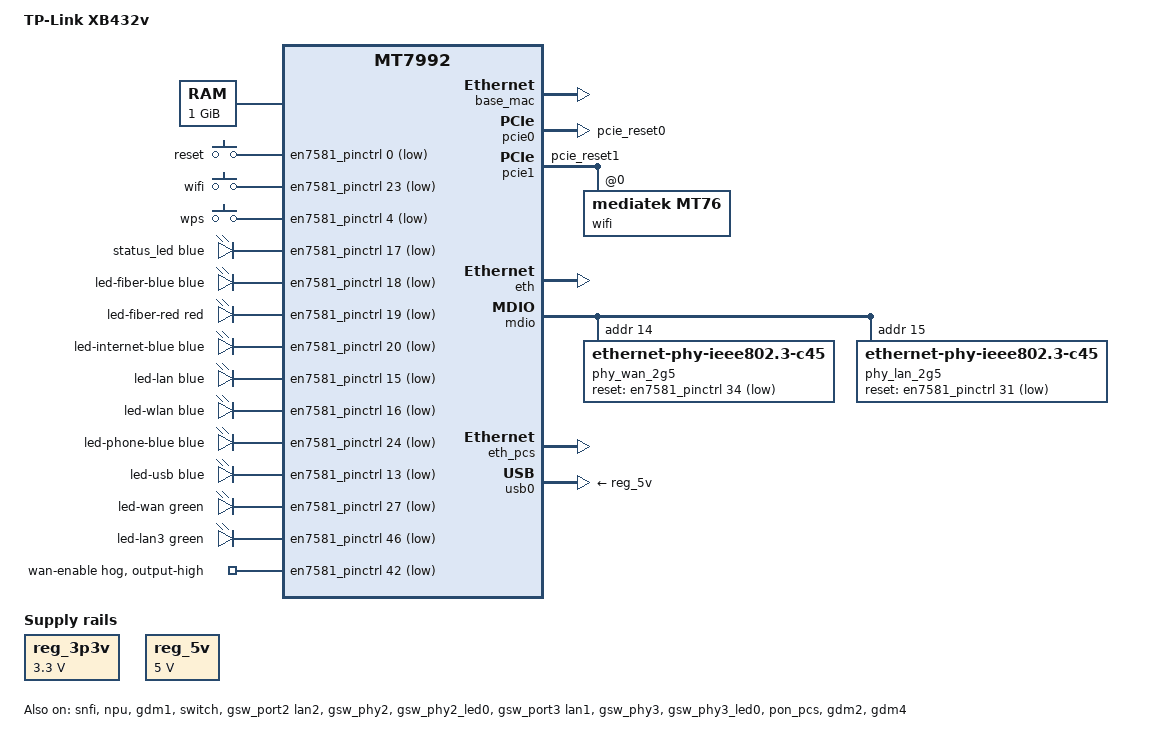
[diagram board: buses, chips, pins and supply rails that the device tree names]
// SPDX-License-Identifier: GPL-2.0-or-later OR MIT

/dts-v1/;
#include <dt-bindings/gpio/gpio.h>
#include <dt-bindings/input/input.h>
#include <dt-bindings/leds/common.h>

#include "an7581.dtsi"
#include "an7581-npu-mt7992.dtsi"

/ {
	model = "TP-Link XB432v";
	compatible = "tplink,xb432v", "airoha,an7581", "airoha,en7581";

	aliases {
        label-mac-device = &gdm1;

        led-boot = &status_led;
        led-failsafe = &status_led;
        led-running = &status_led;
        led-upgrade = &status_led;

		serial0 = &uart1;
	};

	chosen {
		bootargs-append = "console=ttyS0,115200 earlycon root=/dev/ubiblock0_0";
		stdout-path = "serial0:115200n8";
		linux,usable-memory-range = <0x0 0x80200000 0x0 0x3fe00000>;
	};

	memory@80000000 {
		device_type = "memory";
		reg = <0x0 0x80000000 0x0 0x40000000>;
	};

	gpio-keys {
		compatible = "gpio-keys";

		key-reset {
			label = "reset";
			linux,code = <KEY_RESTART>;
			gpios = <&en7581_pinctrl 0 GPIO_ACTIVE_LOW>;
		};

		key-wifi {
			label = "wifi";
			linux,code = <KEY_WLAN>;
			gpios = <&en7581_pinctrl 23 GPIO_ACTIVE_LOW>;
		};

		key-wps {
			label = "wps";
			linux,code = <KEY_WPS_BUTTON>;
			gpios = <&en7581_pinctrl 4 GPIO_ACTIVE_LOW>;
		};
	};

	leds {
		compatible = "gpio-leds";

		status_led: led-power {
			color = <LED_COLOR_ID_BLUE>;
			function = LED_FUNCTION_POWER;
			gpios = <&en7581_pinctrl 17 GPIO_ACTIVE_LOW>;
			default-state = "on";
		};

		led-fiber-blue {
			color = <LED_COLOR_ID_BLUE>;
			function = "fiber";
			gpios = <&en7581_pinctrl 18 GPIO_ACTIVE_LOW>;
		};

		led-fiber-red {
			color = <LED_COLOR_ID_RED>;
			function = "fiber";
			gpios = <&en7581_pinctrl 19 GPIO_ACTIVE_LOW>;
		};

		led-internet-blue {
			color = <LED_COLOR_ID_BLUE>;
			function = "internet";
			gpios = <&en7581_pinctrl 20 GPIO_ACTIVE_LOW>;
		};

		led-lan {
			color = <LED_COLOR_ID_BLUE>;
			function = LED_FUNCTION_LAN;
			gpios = <&en7581_pinctrl 15 GPIO_ACTIVE_LOW>;
		};

		led-wlan {
			color = <LED_COLOR_ID_BLUE>;
			function = LED_FUNCTION_WLAN;
			gpios = <&en7581_pinctrl 16 GPIO_ACTIVE_LOW>;
		};

		led-phone-blue {
			color = <LED_COLOR_ID_BLUE>;
			function = "phone";
			gpios = <&en7581_pinctrl 24 GPIO_ACTIVE_LOW>;
		};

		led-usb {
			color = <LED_COLOR_ID_BLUE>;
			function = LED_FUNCTION_USB;
			gpios = <&en7581_pinctrl 13 GPIO_ACTIVE_LOW>;
		};

		led-wan {
			color = <LED_COLOR_ID_GREEN>;
			function = LED_FUNCTION_WAN;
			gpios = <&en7581_pinctrl 27 GPIO_ACTIVE_LOW>;
		};

		led-lan3 {
			color = <LED_COLOR_ID_GREEN>;
			function = LED_FUNCTION_LAN;
			function-enumerator = <3>;
			gpios = <&en7581_pinctrl 46 GPIO_ACTIVE_LOW>;
		};
	};

	reg_3p3v: regulator-3p3v {
		compatible = "regulator-fixed";
		regulator-name = "fixed-3.3V";
		regulator-min-microvolt = <3300000>;
		regulator-max-microvolt = <3300000>;
		regulator-boot-on;
		regulator-always-on;
	};

	reg_5v: regulator-5v {
		compatible = "regulator-fixed";
		regulator-name = "fixed-5V";
		regulator-min-microvolt = <5000000>;
		regulator-max-microvolt = <5000000>;
		regulator-boot-on;
		regulator-always-on;
	};
};

&en7581_pinctrl {
	gpio-ranges = <&en7581_pinctrl 0 13 50>;

	mdio_pins: mdio-pins {
		mux {
			function = "mdio";
			groups = "mdio";
		};

		conf {
			pins = "gpio2";
			output-high;
		};
	};

	pcie0_rst_pins: pcie0-rst-pins {
		conf {
			pins = "pcie_reset0";
			drive-open-drain = <1>;
		};
	};

	pcie1_rst_pins: pcie1-rst-pins {
		conf {
			pins = "pcie_reset1";
			drive-open-drain = <1>;
		};
	};

	gswp2_led0_pins: gswp2-led0-pins {
		mux {
			function = "phy2_led0";
			pins = "gpio44";
		};
	};

	gswp3_led0_pins: gswp3-led0-pins {
		mux {
			function = "phy3_led0";
			pins = "gpio45";
		};
	};

	wan-enable-hog {
		gpio-hog;
		gpios = <42 GPIO_ACTIVE_LOW>;
		output-high;
		line-name = "wan-enable";
	};
};

&snfi {
	status = "okay";
};

&spi_nand {
	partitions {
		compatible = "fixed-partitions";
		#address-cells = <1>;
		#size-cells = <1>;

		partition@0 {
			label = "boot";
			reg = <0x0 0xc0000>;
			read-only;
		};

		partition@c0000 {
			label = "art";
			reg = <0xc0000 0x380000>;
			read-only;

			nvmem-layout {
				compatible = "fixed-layout";
				#address-cells = <1>;
				#size-cells = <1>;

				wifi_eeprom: eeprom@40000 {
					reg = <0x40000 0x1e00>;
				};
			};
		};

		partition@440000 {
			label = "misc";
			reg = <0x440000 0x400000>;
			read-only;

			nvmem-layout {
				compatible = "fixed-layout";
				#address-cells = <1>;
				#size-cells = <1>;

				base_mac: macaddr@8f100 {
					compatible = "mac-base";
					reg = <0x8f100 0x6>;
					#nvmem-cell-cells = <1>;
				};
			};
		};

		partition@840000 {
			label = "kernel";
			reg = <0x840000 0xa00000>;
		};

		partition@1240000 {
			label = "ubi";
			reg = <0x1240000 0x3bc0000>;
		};

		partition@4e00000 {
			label = "kernel_slave";
			reg = <0x4e00000 0xa00000>;
			read-only;
		};

		partition@5800000 {
			label = "rootfs_slave";
			reg = <0x5800000 0x3bc0000>;
			read-only;
		};

		partition@9bc0000 {
			label = "boot_flag";
			reg = <0x9bc0000 0x40000>;
		};

		partition@1d740000 {
			label = "rawb_reserved";
			reg = <0x1d740000 0x2880000>;
			read-only;
		};

		partition@1ffc0000 {
			label = "bmt_reserved";
			reg = <0x1ffc0000 0x40000>;
			read-only;
		};
	};
};

&pcie0 {
	status = "okay";

	pinctrl-names = "default";
	pinctrl-0 = <&pcie0_rst_pins>;
};

&pcie1 {
	status = "okay";

	pinctrl-names = "default";
	pinctrl-0 = <&pcie1_rst_pins>;

	pcie@1,0 {
		reg = <0x0000 0 0 0 0>;
		device_type = "pci";
		#address-cells = <3>;
		#size-cells = <2>;

		wifi@0,0 {
			compatible = "mediatek,mt76";
			reg = <0x0000 0 0 0 0>;

			#address-cells = <1>;
			#size-cells = <0>;

			airoha,npu = <&npu>;
			airoha,eth = <&eth>;

			nvmem-cells = <&wifi_eeprom>;
			nvmem-cell-names = "eeprom";

			band@0 {
				reg = <0>;

				nvmem-cells = <&base_mac 3>;
				nvmem-cell-names = "mac-address";
			};

			band@1 {
				reg = <1>;

				nvmem-cells = <&base_mac 4>;
				nvmem-cell-names = "mac-address";
			};
		};
	};
};

&npu {
	status = "okay";
};

&eth {
	status = "okay";
};

&gdm1 {
	status = "okay";

	nvmem-cells = <&base_mac 0>;
	nvmem-cell-names = "mac-address";
};

&switch {
	status = "okay";

	pinctrl-names = "default";
	pinctrl-0 = <&mdio_pins>;
};

&mdio {
	phy_wan_2g5: ethernet-phy@e {
		compatible = "ethernet-phy-ieee802.3-c45";
		reg = <0xe>;

		reset-gpios = <&en7581_pinctrl 34 GPIO_ACTIVE_LOW>;
	};

	phy_lan_2g5: ethernet-phy@f {
		compatible = "ethernet-phy-ieee802.3-c45";
		reg = <0xf>;

		reset-gpios = <&en7581_pinctrl 31 GPIO_ACTIVE_LOW>;
	};
};

&gsw_port2 {
	status = "okay";

	label = "lan2";
};

&gsw_phy2 {
	status = "okay";

	interrupts = <2>;

	pinctrl-names = "gbe-led";
	pinctrl-0 = <&gswp2_led0_pins>;
};

&gsw_phy2_led0 {
	status = "okay";

	color = <LED_COLOR_ID_GREEN>;
	function = LED_FUNCTION_LAN;
	function-enumerator = <2>;
	active-low;
};

&gsw_port3 {
	status = "okay";

	label = "lan1";
};

&gsw_phy3 {
	status = "okay";

	interrupts = <3>;

	pinctrl-names = "gbe-led";
	pinctrl-0 = <&gswp3_led0_pins>;
};

&gsw_phy3_led0 {
	status = "okay";

	color = <LED_COLOR_ID_GREEN>;
	function = LED_FUNCTION_LAN;
	function-enumerator = <1>;
	active-low;
};

&pon_pcs {
	status = "okay";
};

&gdm2 {
	status = "okay";

	openwrt,netdev-name = "wan";

	phy-handle = <&phy_wan_2g5>;
	phy-mode = "2500base-x";

	nvmem-cells = <&base_mac 2>;
	nvmem-cell-names = "mac-address";
};

&eth_pcs {
	status = "okay";
};

&gdm4 {
	status = "okay";

	openwrt,netdev-name = "lan3";

	phy-handle = <&phy_lan_2g5>;
	phy-mode = "2500base-x";

	nvmem-cells = <&base_mac 1>;
	nvmem-cell-names = "mac-address";
};

&usb0 {
	status = "okay";

	vusb33-supply = <&reg_3p3v>;
	vbus-supply = <&reg_5v>;
};
